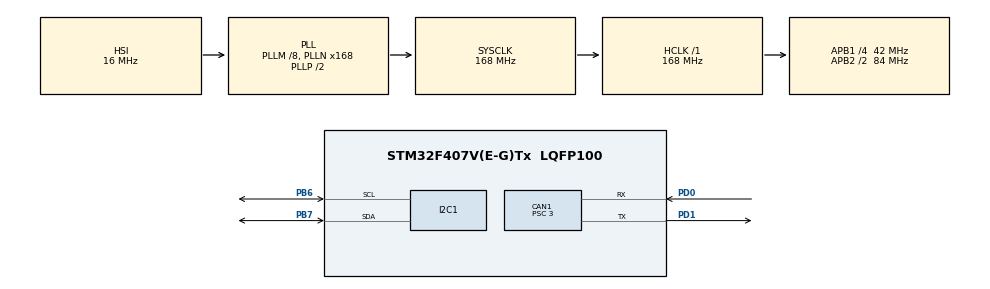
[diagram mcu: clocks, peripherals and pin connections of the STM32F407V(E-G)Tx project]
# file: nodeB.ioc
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CAN1.BS1=CAN_BS1_10TQ
CAN1.BS2=CAN_BS2_3TQ
CAN1.CalculateBaudRate=1000000
CAN1.CalculateTimeBit=1000
CAN1.CalculateTimeQuantum=71.42857142857143
CAN1.Prescaler=3
I2C1.I2C_Mode=I2C_Fast
Mcu.Family=STM32F4
Mcu.Name=STM32F407V(E-G)Tx
Mcu.Package=LQFP100
NVIC.CAN1_RX0_IRQn=true\:0\:0\:false\:false\:true\:true\:true\:true
NVIC.PriorityGroup=NVIC_PRIORITYGROUP_4
PA13.Mode=Serial_Wire
PA13.Signal=SYS_JTMS-SWDIO
PA14.Mode=Serial_Wire
PA14.Signal=SYS_JTCK-SWCLK
PB6.GPIO_Pu=GPIO_PULLUP
PB6.Mode=I2C
PB6.Signal=I2C1_SCL
PB7.GPIO_Pu=GPIO_PULLUP
PB7.Mode=I2C
PB7.Signal=I2C1_SDA
PD0.GPIO_PuPd=GPIO_PULLUP
PD0.Mode=CAN_Activate
PD0.Signal=CAN1_RX
PD1.Mode=CAN_Activate
PD1.Signal=CAN1_TX
PH0-OSC_IN.Mode=HSE-External-Oscillator
PH0-OSC_IN.Signal=RCC_OSC_IN
PH1-OSC_OUT.Mode=HSE-External-Oscillator
PH1-OSC_OUT.Signal=RCC_OSC_OUT
ProjectManager.HeapSize=0x200
ProjectManager.StackSize=0x400
ProjectManager.TargetToolchain=MDK-ARM V5.32
RCC.48MHZClocksFreq_Value=84000000
RCC.AHBFreq_Value=168000000
RCC.APB1CLKDivider=RCC_HCLK_DIV4
RCC.APB1Freq_Value=42000000
RCC.APB1TimFreq_Value=84000000
RCC.APB2CLKDivider=RCC_HCLK_DIV2
RCC.APB2Freq_Value=84000000
RCC.APB2TimFreq_Value=168000000
RCC.CortexFreq_Value=168000000
RCC.HCLKFreq_Value=168000000
RCC.HSE_VALUE=8000000
RCC.HSI_VALUE=16000000
RCC.LSE_VALUE=32768
RCC.PLLM=8
RCC.PLLN=168
RCC.SYSCLKFreq_VALUE=168000000
RCC.SYSCLKSource=RCC_SYSCLKSOURCE_PLLCLK
RCC.VCOOutputFreq_Value=336000000
board=custom

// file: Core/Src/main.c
/* USER CODE BEGIN Header */
/**
  ******************************************************************************
  * @file           : main.c
  * @brief          : Main program body
  ******************************************************************************
  * @attention
  *
  * Copyright (c) 2025 STMicroelectronics.
  * All rights reserved.
  *
  * This software is licensed under terms that can be found in the LICENSE file
  * in the root directory of this software component.
  * If no LICENSE file comes with this software, it is provided AS-IS.
  *
  ******************************************************************************
  */
/* USER CODE END Header */
#include "main.h"

/* USER CODE BEGIN Includes */
#include "canard.h"
#include "canard_internals.h"
#include "string.h"
#include "uavcan.protocol.NodeStatus.h"
#include "uavcan.protocol.GetNodeInfo_res.h"
#include <uavcan.protocol.SoftwareVersion.h>
#include <uavcan.protocol.HardwareVersion.h>
#include <uavcan.equipment.power.BatteryInfo.h>
#include <uavcan.protocol.debug.KeyValue.h>
#include "INA226_STM32_HAL.h"
/* USER CODE END Includes */

/* USER CODE BEGIN PD */
#define CANARD_ENABLE_TAO_OPTION 0
/* USER CODE END PD */

CAN_HandleTypeDef hcan1;

I2C_HandleTypeDef hi2c1;

void SystemClock_Config(void);
static void MX_GPIO_Init(void);
static void MX_CAN1_Init(void);
static void MX_I2C1_Init(void);
/* USER CODE BEGIN PFP */
uint8_t canard_memory_pool[1024];
CanardInstance canard;
uint16_t count_resp = 0;
uint16_t count_rx = 0;
CAN_RxHeaderTypeDef rxHeader;
uint8_t rxData[8];
CanardCANFrame frame;
struct uavcan_protocol_debug_KeyValue req;
//----------------debug-----------------------//
volatile int should_accept_called = 0;
volatile int should_accept_last_type = 0;
volatile int should_accept_last_src = 0;
volatile int should_accept_last_id = 0;
//----------------debug-----------------------//
/* USER CODE END PFP */

/* USER CODE BEGIN 0 */
void HAL_CAN_RxFifo0MsgPendingCallback(CAN_HandleTypeDef *hcan)
{
	while (HAL_CAN_GetRxFifoFillLevel(hcan, CAN_RX_FIFO0) > 0)
	{
			count_rx++;

			if (HAL_CAN_GetRxMessage(hcan, CAN_RX_FIFO0, &rxHeader, rxData) == HAL_OK) {
					frame.id = rxHeader.ExtId;
					if (rxHeader.IDE == CAN_ID_EXT)
							frame.id |= (1UL << 31);

					frame.data_len = rxHeader.DLC;
					memcpy(frame.data, rxData, rxHeader.DLC);
					frame.iface_id = 0;

					canardHandleRxFrame(&canard, &frame, HAL_GetTick() * 1000ULL);
			}
	}
}
bool should_accept(const CanardInstance* ins, uint64_t* out_sig, uint16_t data_type_id,
                   CanardTransferType transfer_type, uint8_t source_node_id) {
    if (data_type_id == 242 && transfer_type == CanardTransferTypeRequest) {
				should_accept_called++;
				should_accept_last_type = transfer_type;
				should_accept_last_src = source_node_id;
				should_accept_last_id = data_type_id;
        *out_sig = UAVCAN_PROTOCOL_DEBUG_KEYVALUE_SIGNATURE;
        return true;
    }
    return false;
}
void on_reception(CanardInstance* ins, CanardRxTransfer* transfer)
{
	if (transfer->data_type_id == 242 &&
			transfer->transfer_type == CanardTransferTypeRequest && transfer->source_node_id != 51) {
			count_resp++;
			uavcan_protocol_debug_KeyValue_decode(transfer, &req);

			if (strncmp((char*)req.key.data, "get_all", req.key.len) == 0) {

					float voltage = INA226_ReadBusVoltage();
					float current = INA226_ReadCurrent();

					struct uavcan_protocol_debug_KeyValue resp;
					uint8_t buffer[UAVCAN_PROTOCOL_DEBUG_KEYVALUE_MAX_SIZE];
					uint32_t len;

					// G?i voltage
					resp.key.len = strlen("voltage");
					memcpy(resp.key.data, "voltage", resp.key.len);
					resp.value = voltage;
					len = uavcan_protocol_debug_KeyValue_encode(&resp, buffer);
					uint8_t tid1 = transfer->transfer_id;
					canardRequestOrRespond(&canard, transfer->source_node_id,
							UAVCAN_PROTOCOL_DEBUG_KEYVALUE_SIGNATURE,
							UAVCAN_PROTOCOL_DEBUG_KEYVALUE_ID,
							&tid1, CANARD_TRANSFER_PRIORITY_LOW,
							CanardResponse, buffer, len);

					// G?i current
					resp.key.len = strlen("current");
					memcpy(resp.key.data, "current", resp.key.len);
					resp.value = current;
					len = uavcan_protocol_debug_KeyValue_encode(&resp, buffer);
					uint8_t tid2 = transfer->transfer_id + 1;  // tránh trùng
					canardRequestOrRespond(&canard, transfer->source_node_id,
							UAVCAN_PROTOCOL_DEBUG_KEYVALUE_SIGNATURE,
							UAVCAN_PROTOCOL_DEBUG_KEYVALUE_ID,
							&tid2, CANARD_TRANSFER_PRIORITY_LOW,
							CanardResponse, buffer, len);
			}
	}
}
void config_filter(void)
{
		//------------filer-------------//
	CAN_FilterTypeDef sFilterConfig;
	sFilterConfig.FilterBank = 0;
	sFilterConfig.FilterMode = CAN_FILTERMODE_IDMASK;
	sFilterConfig.FilterScale = CAN_FILTERSCALE_32BIT;
	sFilterConfig.FilterIdHigh = 0;
	sFilterConfig.FilterIdLow  = 0;
	sFilterConfig.FilterMaskIdHigh = 0;
	sFilterConfig.FilterMaskIdLow  = 0;
	sFilterConfig.FilterFIFOAssignment = CAN_FILTER_FIFO0;
	sFilterConfig.FilterActivation = ENABLE;
	HAL_CAN_ConfigFilter(&hcan1, &sFilterConfig);
}
void tx_frame(void)
{
	CanardCANFrame* txf = NULL;
	while ((txf = canardPeekTxQueue(&canard)) != NULL)
	{
			if (HAL_CAN_GetTxMailboxesFreeLevel(&hcan1) > 0)
			{
					CAN_TxHeaderTypeDef txHeader;
					memset(&txHeader, 0, sizeof(txHeader));
					txHeader.IDE = CAN_ID_EXT;
					txHeader.ExtId = txf->id & 0x1FFFFFFF;
					txHeader.RTR = CAN_RTR_DATA;
					txHeader.DLC = txf->data_len;
					txHeader.TransmitGlobalTime = DISABLE;

					uint32_t txMailbox;
					if (HAL_CAN_AddTxMessage(&hcan1, &txHeader, (uint8_t*)txf->data, &txMailbox) == HAL_OK)
					{
							canardPopTxQueue(&canard);
					}
					else
					{
							break;
					}
			}
			else
			{
					break;
			}
	}
	HAL_Delay(1);
}
/* USER CODE END 0 */

int main(void)
{

  /* MCU Configuration--------------------------------------------------------*/

  /* Reset of all peripherals, Initializes the Flash interface and the Systick. */
  HAL_Init();

  /* Configure the system clock */
  SystemClock_Config();

  /* Initialize all configured peripherals */
  MX_GPIO_Init();
  MX_CAN1_Init();
  MX_I2C1_Init();
  /* USER CODE BEGIN 2 */
	HAL_CAN_Start(&hcan1);
	HAL_CAN_ActivateNotification(&hcan1, CAN_IT_RX_FIFO0_MSG_PENDING);
	canardInit(&canard,
				 canard_memory_pool,
				 sizeof(canard_memory_pool),
				 on_reception,
				 should_accept,
				 NULL);
	canardSetLocalNodeID(&canard, 51);
	config_filter();
	INA226_Begin(INA226_ADDRESS);
	INA226_Configure((INA226_AVERAGES_16 << 9) |
                 (INA226_BUS_CONV_TIME_1100US << 6) |
                 (INA226_SHUNT_CONV_TIME_1100US << 3) |
                 INA226_MODE_SHUNT_BUS_CONT);
	INA226_Calibrate(0.1f, 0.1f);
  /* USER CODE END 2 */

  /* Infinite loop */
  /* USER CODE BEGIN WHILE */
  while (1)
  {
		tx_frame();
    /* USER CODE END WHILE */

  }
}

void SystemClock_Config(void)
{
  RCC_OscInitTypeDef RCC_OscInitStruct = {0};
  RCC_ClkInitTypeDef RCC_ClkInitStruct = {0};

  /** Configure the main internal regulator output voltage
  */
  __HAL_RCC_PWR_CLK_ENABLE();
  __HAL_PWR_VOLTAGESCALING_CONFIG(PWR_REGULATOR_VOLTAGE_SCALE1);

  /** Initializes the RCC Oscillators according to the specified parameters
  * in the RCC_OscInitTypeDef structure.
  */
  RCC_OscInitStruct.OscillatorType = RCC_OSCILLATORTYPE_HSI;
  RCC_OscInitStruct.HSIState = RCC_HSI_ON;
  RCC_OscInitStruct.HSICalibrationValue = RCC_HSICALIBRATION_DEFAULT;
  RCC_OscInitStruct.PLL.PLLState = RCC_PLL_ON;
  RCC_OscInitStruct.PLL.PLLSource = RCC_PLLSOURCE_HSI;
  RCC_OscInitStruct.PLL.PLLM = 8;
  RCC_OscInitStruct.PLL.PLLN = 168;
  RCC_OscInitStruct.PLL.PLLP = RCC_PLLP_DIV2;
  RCC_OscInitStruct.PLL.PLLQ = 4;
  if (HAL_RCC_OscConfig(&RCC_OscInitStruct) != HAL_OK)
  {
    Error_Handler();
  }

  /** Initializes the CPU, AHB and APB buses clocks
  */
  RCC_ClkInitStruct.ClockType = RCC_CLOCKTYPE_HCLK|RCC_CLOCKTYPE_SYSCLK
                              |RCC_CLOCKTYPE_PCLK1|RCC_CLOCKTYPE_PCLK2;
  RCC_ClkInitStruct.SYSCLKSource = RCC_SYSCLKSOURCE_PLLCLK;
  RCC_ClkInitStruct.AHBCLKDivider = RCC_SYSCLK_DIV1;
  RCC_ClkInitStruct.APB1CLKDivider = RCC_HCLK_DIV4;
  RCC_ClkInitStruct.APB2CLKDivider = RCC_HCLK_DIV2;

  if (HAL_RCC_ClockConfig(&RCC_ClkInitStruct, FLASH_LATENCY_5) != HAL_OK)
  {
    Error_Handler();
  }
}

static void MX_CAN1_Init(void)
{

  hcan1.Instance = CAN1;
  hcan1.Init.Prescaler = 3;
  hcan1.Init.Mode = CAN_MODE_NORMAL;
  hcan1.Init.SyncJumpWidth = CAN_SJW_1TQ;
  hcan1.Init.TimeSeg1 = CAN_BS1_10TQ;
  hcan1.Init.TimeSeg2 = CAN_BS2_3TQ;
  hcan1.Init.TimeTriggeredMode = DISABLE;
  hcan1.Init.AutoBusOff = DISABLE;
  hcan1.Init.AutoWakeUp = DISABLE;
  hcan1.Init.AutoRetransmission = DISABLE;
  hcan1.Init.ReceiveFifoLocked = DISABLE;
  hcan1.Init.TransmitFifoPriority = DISABLE;
  if (HAL_CAN_Init(&hcan1) != HAL_OK)
  {
    Error_Handler();
  }

}

static void MX_I2C1_Init(void)
{

  hi2c1.Instance = I2C1;
  hi2c1.Init.ClockSpeed = 400000;
  hi2c1.Init.DutyCycle = I2C_DUTYCYCLE_2;
  hi2c1.Init.OwnAddress1 = 0;
  hi2c1.Init.AddressingMode = I2C_ADDRESSINGMODE_7BIT;
  hi2c1.Init.DualAddressMode = I2C_DUALADDRESS_DISABLE;
  hi2c1.Init.OwnAddress2 = 0;
  hi2c1.Init.GeneralCallMode = I2C_GENERALCALL_DISABLE;
  hi2c1.Init.NoStretchMode = I2C_NOSTRETCH_DISABLE;
  if (HAL_I2C_Init(&hi2c1) != HAL_OK)
  {
    Error_Handler();
  }

}

static void MX_GPIO_Init(void)
{

  /* GPIO Ports Clock Enable */
  __HAL_RCC_GPIOH_CLK_ENABLE();
  __HAL_RCC_GPIOA_CLK_ENABLE();
  __HAL_RCC_GPIOD_CLK_ENABLE();
  __HAL_RCC_GPIOB_CLK_ENABLE();

}

void Error_Handler(void)
{
  __disable_irq();
  while (1)
  {
  }
}
